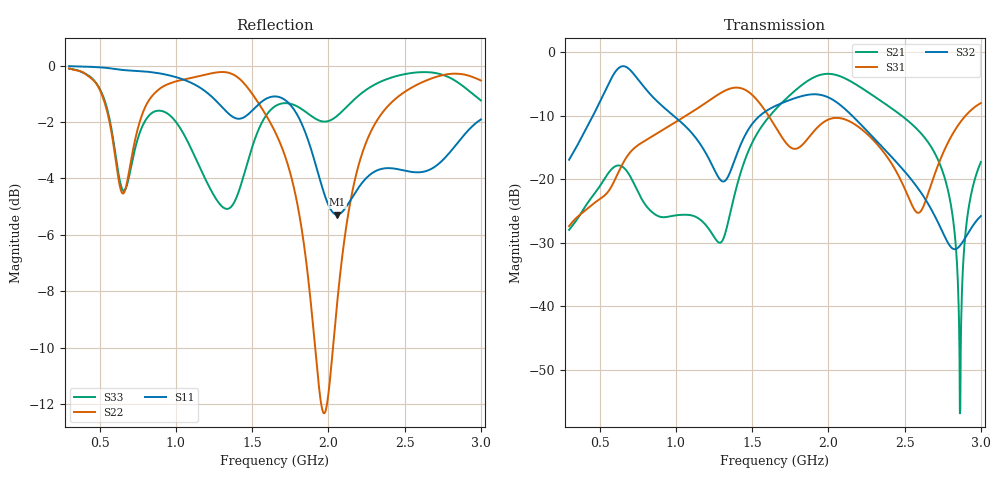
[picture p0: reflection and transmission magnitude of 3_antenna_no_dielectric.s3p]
! Touchstone file generated by Optenni Lab on 2018-12-13T14:23:28
# Hz S DB R 50
! freq Sij(magDB angle)
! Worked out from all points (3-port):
!   1001 points, 300 MHz to 3 GHz, reference 50 ohm
!   strongest paths, dB at 300 MHz, 975 MHz, 1.65 GHz, 2.325 GHz, 3 GHz:
!     S32: -16.9, -9.8, -8.5, -14.2, -25.8
!     S31: -27.4, -11.3, -11.6, -14.6, -8.0
!     S21: -28.0, -25.8, -9.1, -7.3, -17.3
!   lowest |S11| = -5.3 dB at 2.058 GHz (marker M1), VSWR 3.39, Z = 44.8 - j61.2 ohm
!   |S11| at or under -10 dB: nowhere
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3e8  -0.01 -7.1  -28.03 79.2  -27.37 83.0
     -27.96 78.5  -0.09 -23.6  -16.97 70.9
     -27.37 83.3  -16.92 71.3  -0.10 -14.7
6.375e8  -0.14 -15.9  -17.81 20.5  -18.20 93.5
         -17.87 20.5  -4.38 -172.9  -2.28 -11.5
         -18.19 93.3  -2.28 -11.5  -4.20 -33.2
7.293e8  -0.18 -18.2  -20.92 -6.5  -15.06 79.2
         -20.88 -6.8  -2.71 84.2  -3.58 -56.3
         -15.05 79.3  -3.58 -56.3  -3.02 -19.8
9.318e8  -0.31 -24.6  -25.93 11.4  -11.97 57.2
         -25.96 11.5  -0.69 21.3  -8.90 -102.7
         -11.97 57.2  -8.91 -102.7  -1.65 -41.6
1.407e9  -1.88 -36.8  -20.42 103.3  -5.57 -12.6
         -20.41 103.3  -0.42 -23.2  -15.59 29.0
         -5.57 -12.6  -15.59 29.0  -4.54 174.4
1.65e9  -1.09 -45.9  -9.08 57.6  -11.62 -56.7
        -9.08 57.6  -2.34 -49.1  -8.47 -65.2
        -11.61 -56.7  -8.48 -65.2  -1.44 68.6
2.0577e9  -5.29 -62.0  -3.61 -39.1  -10.32 -46.0
          -3.61 -39.1  -8.41 105.8  -7.93 -171.8
          -10.32 -46.0  -7.93 -171.8  -1.78 29.2
2.7111e9  -3.53 -136.9  -16.52 -142.6  -18.28 11.3
          -16.52 -142.6  -0.39 7.8  -26.39 59.3
          -18.28 11.3  -26.41 59.3  -0.27 0.1
2.8623e9  -2.64 -179.5  -57.11 -177.5  -11.10 0.7
          -56.86 175.0  -0.29 -1.2  -30.44 -43.5
          -11.10 0.7  -30.47 -43.4  -0.64 -6.7
3e9  -1.91 137.5  -17.26 -20.4  -7.99 -22.1
     -17.28 -20.3  -0.52 -8.6  -25.76 -110.4
     -7.99 -22.1  -25.79 -110.3  -1.23 -10.4
